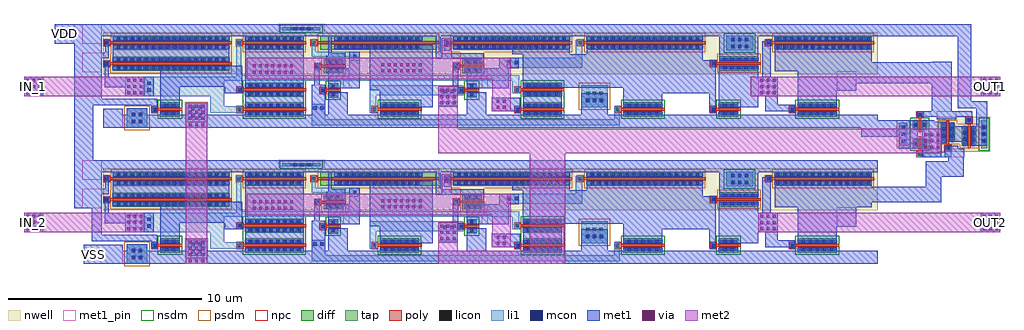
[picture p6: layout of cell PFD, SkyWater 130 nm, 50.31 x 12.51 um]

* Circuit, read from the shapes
.subckt PFD IN_1 IN_2 OUT1 OUT2 VDD VSS
XM1 n1 VDD VSS VSS sky130_fd_pr__nfet_01v8 w=1 l=0.15
XM2 n2 VDD VSS VSS sky130_fd_pr__nfet_01v8 w=1 l=0.15
XM3 n3 IN_2 VSS VSS sky130_fd_pr__nfet_01v8 w=3 l=0.15
XM4 n4 n1 n3 VSS sky130_fd_pr__nfet_01v8 w=3 l=0.15
XM5 n5 IN_1 VSS VSS sky130_fd_pr__nfet_01v8 w=3 l=0.15
XM6 n6 n2 n5 VSS sky130_fd_pr__nfet_01v8 w=3 l=0.15
XM7 Register_SR_2/Inv2-1_7/Out VSS VSS VSS sky130_fd_pr__nfet_01v8 w=0.5 l=0.15
XM8 Register_SR_1/Inv2-1_7/Out VSS VSS VSS sky130_fd_pr__nfet_01v8 w=0.5 l=0.15
XM9 n4 NOR2-1_0/Out VSS VSS sky130_fd_pr__nfet_01v8 w=2 l=0.15
XM10 n6 NOR2-1_0/Out VSS VSS sky130_fd_pr__nfet_01v8 w=2 l=0.15
XM11 Register_SR_2/Inv2-1_14/Out NOR2-1_0/Out VSS VSS sky130_fd_pr__nfet_01v8 w=0.5 l=0.15
XM12 Register_SR_1/Inv2-1_14/Out NOR2-1_0/Out VSS VSS sky130_fd_pr__nfet_01v8 w=0.5 l=0.15
XM13 n7 IN_2 n8 VSS sky130_fd_pr__nfet_01v8 w=2 l=0.15
XM14 n9 IN_1 n10 VSS sky130_fd_pr__nfet_01v8 w=2 l=0.15
XM15 n8 n4 VSS VSS sky130_fd_pr__nfet_01v8 w=2 l=0.15
XM16 n10 n6 VSS VSS sky130_fd_pr__nfet_01v8 w=2 l=0.15
XM17 n7 VSS VSS VSS sky130_fd_pr__nfet_01v8 w=2 l=0.15
XM18 n9 VSS VSS VSS sky130_fd_pr__nfet_01v8 w=2 l=0.15
XM19 OUT2 n7 VSS VSS sky130_fd_pr__nfet_01v8 w=1 l=0.15
XM20 OUT1 n9 VSS VSS sky130_fd_pr__nfet_01v8 w=1 l=0.15
XM21 NOR2-1_0/In_2 OUT2 VSS VSS sky130_fd_pr__nfet_01v8 w=2 l=0.15
XM22 NOR2-1_0/In_1 OUT1 VSS VSS sky130_fd_pr__nfet_01v8 w=2 l=0.15
XM23 NOR2-1_0/Out NOR2-1_0/In_2 VSS VSS sky130_fd_pr__nfet_01v8 w=0.5 l=0.15
XM24 NOR2-1_0/Out NOR2-1_0/In_1 VSS VSS sky130_fd_pr__nfet_01v8 w=0.5 l=0.15
XM25 n11 IN_2 n1 VDD sky130_fd_pr__pfet_01v8 w=6 l=0.15
XM26 n12 IN_1 n2 VDD sky130_fd_pr__pfet_01v8 w=6 l=0.15
XM27 VDD VDD n11 VDD sky130_fd_pr__pfet_01v8 w=6 l=0.15
XM28 VDD VDD n12 VDD sky130_fd_pr__pfet_01v8 w=6 l=0.15
XM29 VDD IN_2 n4 VDD sky130_fd_pr__pfet_01v8 w=3 l=0.15
XM30 VDD IN_1 n6 VDD sky130_fd_pr__pfet_01v8 w=3 l=0.15
XM31 VDD Register_SR_2/Inv2-1_7/Out n4 VDD sky130_fd_pr__pfet_01v8 w=6 l=0.15
XM32 VDD Register_SR_1/Inv2-1_7/Out n6 VDD sky130_fd_pr__pfet_01v8 w=6 l=0.15
XM33 VDD VSS Register_SR_2/Inv2-1_7/Out VDD sky130_fd_pr__pfet_01v8 w=1 l=0.15
XM34 VDD VSS Register_SR_1/Inv2-1_7/Out VDD sky130_fd_pr__pfet_01v8 w=1 l=0.15
XM35 VDD n4 n7 VDD sky130_fd_pr__pfet_01v8 w=6 l=0.15
XM36 VDD n6 n9 VDD sky130_fd_pr__pfet_01v8 w=6 l=0.15
XM37 VDD NOR2-1_0/Out Register_SR_2/Inv2-1_14/Out VDD sky130_fd_pr__pfet_01v8 w=1 l=0.15
XM38 VDD NOR2-1_0/Out Register_SR_1/Inv2-1_14/Out VDD sky130_fd_pr__pfet_01v8 w=1 l=0.15
XM39 VDD Register_SR_2/Inv2-1_14/Out n7 VDD sky130_fd_pr__pfet_01v8 w=6 l=0.15
XM40 VDD Register_SR_1/Inv2-1_14/Out n9 VDD sky130_fd_pr__pfet_01v8 w=6 l=0.15
XM41 VDD n7 OUT2 VDD sky130_fd_pr__pfet_01v8 w=2 l=0.15
XM42 VDD n9 OUT1 VDD sky130_fd_pr__pfet_01v8 w=2 l=0.15
XM43 VDD OUT2 NOR2-1_0/In_2 VDD sky130_fd_pr__pfet_01v8 w=5 l=0.15
XM44 VDD OUT1 NOR2-1_0/In_1 VDD sky130_fd_pr__pfet_01v8 w=5 l=0.15
XM45 n13 NOR2-1_0/In_2 NOR2-1_0/Out VDD sky130_fd_pr__pfet_01v8 w=1 l=0.15
XM46 VDD NOR2-1_0/In_1 n13 VDD sky130_fd_pr__pfet_01v8 w=1 l=0.15
.ends

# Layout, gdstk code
from math import pi, radians
import gdstk
lib = gdstk.Library(unit=1e-6, precision=1e-09)
def R(c, l, rs):  # rectangles x0, y0, x1, y1
    for r in rs: c.add(gdstk.rectangle(r[:2], r[2:], *l))
def A(c, l, x, y, w, h, nx, ny, dx, dy):  # array of equal rectangles
    R(c, l, [(x+i*dx, y+j*dy, x+i*dx+w, y+j*dy+h) for i in range(nx) for j in range(ny)])
nwell = (64, 20)
diff = (65, 20)
tap = (65, 44)
poly = (66, 20)
licon = (66, 44)
li1 = (67, 20)
mcon = (67, 44)
met1_pin = (68, 16)
met1 = (68, 20)
via = (68, 44)
met2 = (69, 20)
nsdm = (93, 44)
psdm = (94, 20)
npc = (95, 20)

sky130_fd_pr__pfet_01v8_ = lib.new_cell('sky130_fd_pr__pfet_01v8_CWU6PJ')
R(sky130_fd_pr__pfet_01v8_, nwell, [(-0.545,-0.99,0.545,0.82)])
R(sky130_fd_pr__pfet_01v8_, diff, [(-0.365,-0.68,0.365,0.32)])
R(sky130_fd_pr__pfet_01v8_, poly, [(-0.075,-0.81,0.075,0.475), (-0.165,0.475,0.165,0.805)])
A(sky130_fd_pr__pfet_01v8_, licon, -0.305, -0.605, 0.17, 0.17, 1, 3, 0, 0.34)
A(sky130_fd_pr__pfet_01v8_, licon, 0.135, -0.605, 0.17, 0.17, 1, 3, 0, 0.34)
R(sky130_fd_pr__pfet_01v8_, licon, [(-0.085,0.555,0.085,0.725)])
R(sky130_fd_pr__pfet_01v8_, li1, [(-0.305,-0.7,-0.135,0.34), (0.135,-0.7,0.305,0.34), (-0.165,0.555,0.165,0.725)])
R(sky130_fd_pr__pfet_01v8_, mcon, [(-0.305,-0.445,-0.135,-0.275), (0.135,-0.445,0.305,-0.275), (-0.305,-0.085,-0.135,0.085), (0.135,-0.085,0.305,0.085), (-0.085,0.555,0.085,0.725)])
R(sky130_fd_pr__pfet_01v8_, met1, [(-0.335,-0.68,-0.105,0.32), (0.105,-0.68,0.335,0.32), (-0.145,0.525,0.145,0.755)])
R(sky130_fd_pr__pfet_01v8_, psdm, [(-0.49,-0.805,0.49,0.445)])
R(sky130_fd_pr__pfet_01v8_, npc, [(-0.185,0.455,0.185,0.825)])

sky130_fd_pr__nfet_01v8_ = lib.new_cell('sky130_fd_pr__nfet_01v8_CQHVT8')
R(sky130_fd_pr__nfet_01v8_, diff, [(-0.365,-0.405,0.365,0.095)])
R(sky130_fd_pr__nfet_01v8_, poly, [(-0.075,-0.535,0.075,0.205), (-0.165,0.205,0.165,0.535)])
R(sky130_fd_pr__nfet_01v8_, licon, [(-0.305,-0.24,-0.135,-0.07), (0.135,-0.24,0.305,-0.07), (-0.085,0.285,0.085,0.455)])
R(sky130_fd_pr__nfet_01v8_, li1, [(-0.305,-0.425,-0.135,0.115), (0.135,-0.425,0.305,0.115), (-0.165,0.285,0.165,0.455)])
R(sky130_fd_pr__nfet_01v8_, mcon, [(-0.305,-0.24,-0.135,-0.07), (0.135,-0.24,0.305,-0.07)])
R(sky130_fd_pr__nfet_01v8_, met1, [(-0.335,-0.405,-0.105,0.095), (0.105,-0.405,0.335,0.095)])
R(sky130_fd_pr__nfet_01v8_, nsdm, [(-0.49,-0.53,0.49,0.22)])
R(sky130_fd_pr__nfet_01v8_, npc, [(-0.185,0.185,0.185,0.555)])

c_sky130_fd_pr__nfet_01v8_ = lib.new_cell('sky130_fd_pr__nfet_01v8_8DMXDH')
R(c_sky130_fd_pr__nfet_01v8_, diff, [(-0.365,-0.405,0.365,0.095)])
R(c_sky130_fd_pr__nfet_01v8_, poly, [(-0.075,-0.535,0.075,0.205), (-0.165,0.205,0.165,0.535)])
R(c_sky130_fd_pr__nfet_01v8_, licon, [(-0.305,-0.24,-0.135,-0.07), (0.135,-0.24,0.305,-0.07), (-0.085,0.285,0.085,0.455)])
R(c_sky130_fd_pr__nfet_01v8_, li1, [(-0.305,-0.425,-0.135,0.115), (0.135,-0.425,0.305,0.115), (-0.165,0.285,0.165,0.455)])
R(c_sky130_fd_pr__nfet_01v8_, mcon, [(-0.305,-0.24,-0.135,-0.07), (0.135,-0.24,0.305,-0.07), (-0.085,0.285,0.085,0.455)])
R(c_sky130_fd_pr__nfet_01v8_, met1, [(-0.335,-0.405,-0.105,0.095), (0.105,-0.405,0.335,0.095), (-0.145,0.255,0.145,0.485)])
R(c_sky130_fd_pr__nfet_01v8_, nsdm, [(-0.49,-0.53,0.49,0.22)])
R(c_sky130_fd_pr__nfet_01v8_, npc, [(-0.185,0.185,0.185,0.555)])

nor2_1 = lib.new_cell('NOR2-1')
R(nor2_1, nwell, [(2.92,0.17,4.73,0.91)])
R(nor2_1, tap, [(3.23,-3.79,4.43,-3.37), (3.1,0.44,4.55,0.73)])
A(nor2_1, licon, 3.405, -3.66, 0.17, 0.17, 3, 1, 0.34, 0)
A(nor2_1, licon, 3.4, 0.495, 0.17, 0.17, 3, 1, 0.34, 0)
R(nor2_1, li1, [(3.23,-3.79,4.43,-3.37), (4.76,-2.9,5.03,-1.45), (4.46,-1.45,5.03,-1.12), (3.1,0.44,4.55,0.73)])
A(nor2_1, mcon, 3.385, -3.66, 0.17, 0.17, 3, 1, 0.36, 0)
A(nor2_1, mcon, 3.38, 0.495, 0.17, 0.17, 3, 1, 0.36, 0)
R(nor2_1, met1_pin, [(3.34,-3.83,4.34,-2.83), (4.57,-2.62,5.03,-1.62), (2.64,-1.85,3.06,-0.85), (4.57,-1.45,5.03,-0.45), (3.42,-0.09,3.46,0.73)])
R(nor2_1, met1, [(3.1,-3.83,4.57,-2.83), (2.64,-2.89,2.94,-1.85), (3.1,-2.62,4.31,-2.39), (4.57,-2.62,5.03,-2.39), (3.1,-2.39,5.03,-1.99), (3.2,-1.99,5.03,-1.62), (2.64,-1.85,3.06,-0.85), (3.2,-1.62,4.29,-1.38), (4.43,-1.45,5.03,-0.76), (3.42,-1.18,4.23,-0.3), (2.64,-0.85,2.94,-0.36), (4.57,-0.76,5.03,-0.45), (2.64,-0.36,3.28,-0.03), (3.42,-0.09,4.42,0.17), (2.92,0.17,4.42,0.73)])
R(nor2_1, nsdm, [(3.725,-3.215,3.945,-2.235), (2.975,0.315,4.675,0.855)])
R(nor2_1, psdm, [(3.105,-3.915,4.555,-3.245), (3.295,-0.795,4.355,-0.685)])
nor2_1.add(gdstk.Reference(sky130_fd_pr__pfet_01v8_, (3.74,-0.195), rotation=pi/2))
nor2_1.add(gdstk.Reference(sky130_fd_pr__nfet_01v8_, (4.475,-2.725), rotation=3*pi/2))
nor2_1.add(gdstk.Reference(c_sky130_fd_pr__nfet_01v8_, (3.195,-2.725), rotation=pi/2))
nor2_1.add(gdstk.Reference(sky130_fd_pr__pfet_01v8_, (3.91,-1.285), rotation=3*pi/2))
nor2_1.add(gdstk.Label('VSS', (3.84,-3.33), layer=68, texttype=5))
nor2_1.add(gdstk.Label('In_2', (4.8,-0.95), layer=68, texttype=5))
nor2_1.add(gdstk.Label('Out', (4.8,-2.12), layer=68, texttype=5))
nor2_1.add(gdstk.Label('In_1', (2.85,-1.35), layer=68, texttype=5))
nor2_1.add(gdstk.Label('VDD', (3.44,0.32), layer=68, texttype=5))

c_sky130_fd_pr__nfet_01v8__ = lib.new_cell('sky130_fd_pr__nfet_01v8_28RQMS')
R(c_sky130_fd_pr__nfet_01v8__, diff, [(-0.365,-1.155,0.365,0.845)])
R(c_sky130_fd_pr__nfet_01v8__, poly, [(-0.075,-1.285,0.075,0.955), (-0.165,0.955,0.165,1.285)])
A(c_sky130_fd_pr__nfet_01v8__, licon, -0.305, -1.09, 0.17, 0.17, 1, 6, 0, 0.34)
A(c_sky130_fd_pr__nfet_01v8__, licon, 0.135, -1.09, 0.17, 0.17, 1, 6, 0, 0.34)
R(c_sky130_fd_pr__nfet_01v8__, licon, [(-0.085,1.035,0.085,1.205)])
R(c_sky130_fd_pr__nfet_01v8__, li1, [(-0.305,-1.175,-0.135,0.865), (0.135,-1.175,0.305,0.865), (-0.165,1.035,0.165,1.205)])
A(c_sky130_fd_pr__nfet_01v8__, mcon, -0.305, -0.96, 0.17, 0.17, 1, 5, 0, 0.36)
A(c_sky130_fd_pr__nfet_01v8__, mcon, 0.135, -0.96, 0.17, 0.17, 1, 5, 0, 0.36)
R(c_sky130_fd_pr__nfet_01v8__, mcon, [(-0.085,1.035,0.085,1.205)])
R(c_sky130_fd_pr__nfet_01v8__, met1, [(-0.335,-1.155,-0.105,0.845), (0.105,-1.155,0.335,0.845), (-0.145,1.005,0.145,1.235)])
R(c_sky130_fd_pr__nfet_01v8__, nsdm, [(-0.49,-1.28,0.49,0.97)])
R(c_sky130_fd_pr__nfet_01v8__, npc, [(-0.185,0.935,0.185,1.305)])

c_sky130_fd_pr__nfet_01v8___ = lib.new_cell('sky130_fd_pr__nfet_01v8_NTFR9R')
R(c_sky130_fd_pr__nfet_01v8___, diff, [(-0.365,-0.655,0.365,0.345)])
R(c_sky130_fd_pr__nfet_01v8___, poly, [(-0.075,-0.785,0.075,0.455), (-0.165,0.455,0.165,0.785)])
A(c_sky130_fd_pr__nfet_01v8___, licon, -0.305, -0.58, 0.17, 0.17, 1, 3, 0, 0.34)
A(c_sky130_fd_pr__nfet_01v8___, licon, 0.135, -0.58, 0.17, 0.17, 1, 3, 0, 0.34)
R(c_sky130_fd_pr__nfet_01v8___, licon, [(-0.085,0.535,0.085,0.705)])
R(c_sky130_fd_pr__nfet_01v8___, li1, [(-0.305,-0.675,-0.135,0.365), (0.135,-0.675,0.305,0.365), (-0.165,0.535,0.165,0.705)])
R(c_sky130_fd_pr__nfet_01v8___, mcon, [(-0.305,-0.42,-0.135,-0.25), (0.135,-0.42,0.305,-0.25), (-0.305,-0.06,-0.135,0.11), (0.135,-0.06,0.305,0.11), (-0.085,0.535,0.085,0.705)])
R(c_sky130_fd_pr__nfet_01v8___, met1, [(-0.335,-0.655,-0.105,0.345), (0.105,-0.655,0.335,0.345), (-0.145,0.505,0.145,0.735)])
R(c_sky130_fd_pr__nfet_01v8___, nsdm, [(-0.49,-0.78,0.49,0.47)])
R(c_sky130_fd_pr__nfet_01v8___, npc, [(-0.185,0.435,0.185,0.805)])

c_sky130_fd_pr__nfet_01v8____ = lib.new_cell('sky130_fd_pr__nfet_01v8_TUG65L')
R(c_sky130_fd_pr__nfet_01v8____, diff, [(-0.365,-1.155,0.365,0.845)])
R(c_sky130_fd_pr__nfet_01v8____, poly, [(-0.075,-1.285,0.075,0.955), (-0.165,0.955,0.165,1.285)])
A(c_sky130_fd_pr__nfet_01v8____, licon, -0.305, -1.09, 0.17, 0.17, 1, 6, 0, 0.34)
A(c_sky130_fd_pr__nfet_01v8____, licon, 0.135, -1.09, 0.17, 0.17, 1, 6, 0, 0.34)
R(c_sky130_fd_pr__nfet_01v8____, licon, [(-0.085,1.035,0.085,1.205)])
R(c_sky130_fd_pr__nfet_01v8____, li1, [(-0.305,-1.175,-0.135,0.865), (0.135,-1.175,0.305,0.865), (-0.165,1.035,0.165,1.205)])
A(c_sky130_fd_pr__nfet_01v8____, mcon, -0.305, -0.96, 0.17, 0.17, 1, 5, 0, 0.36)
A(c_sky130_fd_pr__nfet_01v8____, mcon, 0.135, -0.96, 0.17, 0.17, 1, 5, 0, 0.36)
R(c_sky130_fd_pr__nfet_01v8____, met1, [(-0.335,-1.155,-0.105,0.845), (0.105,-1.155,0.335,0.845)])
R(c_sky130_fd_pr__nfet_01v8____, nsdm, [(-0.49,-1.28,0.49,0.97)])
R(c_sky130_fd_pr__nfet_01v8____, npc, [(-0.185,0.935,0.185,1.305)])

c_sky130_fd_pr__nfet_01v8_____ = lib.new_cell('sky130_fd_pr__nfet_01v8_5R7S7E')
R(c_sky130_fd_pr__nfet_01v8_____, diff, [(-0.365,-1.655,0.365,1.345)])
R(c_sky130_fd_pr__nfet_01v8_____, poly, [(-0.075,-1.785,0.075,1.455), (-0.165,1.455,0.165,1.785)])
A(c_sky130_fd_pr__nfet_01v8_____, licon, -0.305, -1.43, 0.17, 0.17, 1, 8, 0, 0.34)
A(c_sky130_fd_pr__nfet_01v8_____, licon, 0.135, -1.43, 0.17, 0.17, 1, 8, 0, 0.34)
R(c_sky130_fd_pr__nfet_01v8_____, licon, [(-0.085,1.535,0.085,1.705)])
R(c_sky130_fd_pr__nfet_01v8_____, li1, [(-0.305,-1.675,-0.135,1.365), (0.135,-1.675,0.305,1.365), (-0.165,1.535,0.165,1.705)])
A(c_sky130_fd_pr__nfet_01v8_____, mcon, -0.305, -1.5, 0.17, 0.17, 1, 8, 0, 0.36)
A(c_sky130_fd_pr__nfet_01v8_____, mcon, 0.135, -1.5, 0.17, 0.17, 1, 8, 0, 0.36)
R(c_sky130_fd_pr__nfet_01v8_____, met1, [(-0.335,-1.655,-0.105,1.345), (0.105,-1.655,0.335,1.345)])
R(c_sky130_fd_pr__nfet_01v8_____, nsdm, [(-0.49,-1.78,0.49,1.47)])
R(c_sky130_fd_pr__nfet_01v8_____, npc, [(-0.185,1.435,0.185,1.805)])

c_sky130_fd_pr__nfet_01v8______ = lib.new_cell('sky130_fd_pr__nfet_01v8_KNTFKG')
R(c_sky130_fd_pr__nfet_01v8______, diff, [(-0.365,-1.655,0.365,1.345)])
R(c_sky130_fd_pr__nfet_01v8______, poly, [(-0.075,-1.785,0.075,1.455), (-0.165,1.455,0.165,1.785)])
A(c_sky130_fd_pr__nfet_01v8______, licon, -0.305, -1.43, 0.17, 0.17, 1, 8, 0, 0.34)
A(c_sky130_fd_pr__nfet_01v8______, licon, 0.135, -1.43, 0.17, 0.17, 1, 8, 0, 0.34)
R(c_sky130_fd_pr__nfet_01v8______, licon, [(-0.085,1.535,0.085,1.705)])
R(c_sky130_fd_pr__nfet_01v8______, li1, [(-0.305,-1.675,-0.135,1.365), (0.135,-1.675,0.305,1.365), (-0.165,1.535,0.165,1.705)])
A(c_sky130_fd_pr__nfet_01v8______, mcon, -0.305, -1.5, 0.17, 0.17, 1, 8, 0, 0.36)
A(c_sky130_fd_pr__nfet_01v8______, mcon, 0.135, -1.5, 0.17, 0.17, 1, 8, 0, 0.36)
R(c_sky130_fd_pr__nfet_01v8______, mcon, [(-0.085,1.535,0.085,1.705)])
R(c_sky130_fd_pr__nfet_01v8______, met1, [(-0.335,-1.655,-0.105,1.345), (0.105,-1.655,0.335,1.345), (-0.145,1.505,0.145,1.735)])
R(c_sky130_fd_pr__nfet_01v8______, nsdm, [(-0.49,-1.78,0.49,1.47)])
R(c_sky130_fd_pr__nfet_01v8______, npc, [(-0.185,1.435,0.185,1.805)])

c_sky130_fd_pr__pfet_01v8_ = lib.new_cell('sky130_fd_pr__pfet_01v8_C6DMSJ')
R(c_sky130_fd_pr__pfet_01v8_, nwell, [(-0.545,-3.49,0.545,3.32)])
R(c_sky130_fd_pr__pfet_01v8_, diff, [(-0.365,-3.18,0.365,2.82)])
R(c_sky130_fd_pr__pfet_01v8_, poly, [(-0.075,-3.31,0.075,2.975), (-0.165,2.975,0.165,3.305)])
A(c_sky130_fd_pr__pfet_01v8_, licon, -0.305, -2.985, 0.17, 0.17, 1, 17, 0, 0.34)
A(c_sky130_fd_pr__pfet_01v8_, licon, 0.135, -2.985, 0.17, 0.17, 1, 17, 0, 0.34)
R(c_sky130_fd_pr__pfet_01v8_, licon, [(-0.085,3.055,0.085,3.225)])
R(c_sky130_fd_pr__pfet_01v8_, li1, [(-0.305,-3.2,-0.135,2.84), (0.135,-3.2,0.305,2.84), (-0.165,3.055,0.165,3.225)])
A(c_sky130_fd_pr__pfet_01v8_, mcon, -0.305, -2.965, 0.17, 0.17, 1, 16, 0, 0.36)
A(c_sky130_fd_pr__pfet_01v8_, mcon, 0.135, -2.965, 0.17, 0.17, 1, 16, 0, 0.36)
R(c_sky130_fd_pr__pfet_01v8_, mcon, [(-0.085,3.055,0.085,3.225)])
R(c_sky130_fd_pr__pfet_01v8_, met1, [(-0.335,-3.18,-0.105,2.82), (0.105,-3.18,0.335,2.82), (-0.145,3.025,0.145,3.255)])
R(c_sky130_fd_pr__pfet_01v8_, psdm, [(-0.49,-3.305,0.49,2.945)])
R(c_sky130_fd_pr__pfet_01v8_, npc, [(-0.185,2.955,0.185,3.325)])

c_sky130_fd_pr__pfet_01v8__ = lib.new_cell('sky130_fd_pr__pfet_01v8_F97YLM')
R(c_sky130_fd_pr__pfet_01v8__, nwell, [(-0.545,-0.99,0.545,0.82)])
R(c_sky130_fd_pr__pfet_01v8__, diff, [(-0.365,-0.68,0.365,0.32)])
R(c_sky130_fd_pr__pfet_01v8__, poly, [(-0.075,-0.81,0.075,0.475), (-0.165,0.475,0.165,0.805)])
R(c_sky130_fd_pr__pfet_01v8__, licon, [(-0.305,-0.435,-0.135,-0.265), (0.135,-0.435,0.305,-0.265), (-0.305,-0.095,-0.135,0.075), (0.135,-0.095,0.305,0.075), (-0.085,0.555,0.085,0.725)])
R(c_sky130_fd_pr__pfet_01v8__, li1, [(-0.305,-0.59,-0.135,0.23), (0.135,-0.59,0.305,0.23), (-0.165,0.555,0.165,0.725)])
R(c_sky130_fd_pr__pfet_01v8__, mcon, [(-0.305,-0.445,-0.135,-0.275), (0.135,-0.445,0.305,-0.275), (-0.305,-0.085,-0.135,0.085), (0.135,-0.085,0.305,0.085), (-0.085,0.555,0.085,0.725)])
R(c_sky130_fd_pr__pfet_01v8__, met1, [(-0.335,-0.57,-0.105,0.21), (0.105,-0.57,0.335,0.21), (-0.145,0.525,0.145,0.755)])
R(c_sky130_fd_pr__pfet_01v8__, psdm, [(-0.49,-0.805,0.49,0.445)])
R(c_sky130_fd_pr__pfet_01v8__, npc, [(-0.185,0.455,0.185,0.825)])

inv2_1 = lib.new_cell('Inv2-1')
R(inv2_1, met1_pin, [(2.73,-3.84,3.04,-2.84)])
R(inv2_1, met1, [(1.96,-4.31,2.96,-4.05), (1.23,-4.11,1.8,-3.78), (1.96,-3.84,3.04,-2.95), (1.23,-3.78,1.52,-2.84), (2.06,-2.95,3.04,-2.8), (1.84,-2.59,2.84,-2.15)])
inv2_1.add(gdstk.Reference(c_sky130_fd_pr__nfet_01v8_, (2.055,-3.945), rotation=pi/2))
inv2_1.add(gdstk.Reference(c_sky130_fd_pr__pfet_01v8__, (2.05,-2.695), rotation=pi/2))
inv2_1.add(gdstk.Label('Out', (2.885,-3.34), layer=68, texttype=5))

c_sky130_fd_pr__pfet_01v8___ = lib.new_cell('sky130_fd_pr__pfet_01v8_8SDNUD')
R(c_sky130_fd_pr__pfet_01v8___, nwell, [(-0.545,-3.49,0.545,3.32)])
R(c_sky130_fd_pr__pfet_01v8___, diff, [(-0.365,-3.18,0.365,2.82)])
R(c_sky130_fd_pr__pfet_01v8___, poly, [(-0.075,-3.31,0.075,2.975), (-0.165,2.975,0.165,3.305)])
A(c_sky130_fd_pr__pfet_01v8___, licon, -0.305, -2.305, 0.17, 0.17, 1, 13, 0, 0.34)
A(c_sky130_fd_pr__pfet_01v8___, licon, 0.135, -2.305, 0.17, 0.17, 1, 13, 0, 0.34)
R(c_sky130_fd_pr__pfet_01v8___, licon, [(-0.085,3.055,0.085,3.225)])
R(c_sky130_fd_pr__pfet_01v8___, li1, [(-0.305,-2.465,-0.135,2.105), (0.135,-2.465,0.305,2.105), (-0.165,3.055,0.165,3.225)])
A(c_sky130_fd_pr__pfet_01v8___, mcon, -0.305, -2.245, 0.17, 0.17, 1, 12, 0, 0.36)
A(c_sky130_fd_pr__pfet_01v8___, mcon, 0.135, -2.245, 0.17, 0.17, 1, 12, 0, 0.36)
R(c_sky130_fd_pr__pfet_01v8___, met1, [(-0.335,-2.445,-0.105,2.085), (0.105,-2.445,0.335,2.085)])
R(c_sky130_fd_pr__pfet_01v8___, psdm, [(-0.49,-3.305,0.49,2.945)])
R(c_sky130_fd_pr__pfet_01v8___, npc, [(-0.185,2.955,0.185,3.325)])

c_sky130_fd_pr__pfet_01v8____ = lib.new_cell('sky130_fd_pr__pfet_01v8_YRA8CD')
R(c_sky130_fd_pr__pfet_01v8____, nwell, [(-0.545,-1.99,0.545,1.82)])
R(c_sky130_fd_pr__pfet_01v8____, diff, [(-0.365,-1.68,0.365,1.32)])
R(c_sky130_fd_pr__pfet_01v8____, poly, [(-0.075,-1.81,0.075,1.475), (-0.165,1.475,0.165,1.805)])
A(c_sky130_fd_pr__pfet_01v8____, licon, -0.305, -1.455, 0.17, 0.17, 1, 8, 0, 0.34)
A(c_sky130_fd_pr__pfet_01v8____, licon, 0.135, -1.455, 0.17, 0.17, 1, 8, 0, 0.34)
R(c_sky130_fd_pr__pfet_01v8____, licon, [(-0.085,1.555,0.085,1.725)])
R(c_sky130_fd_pr__pfet_01v8____, li1, [(-0.305,-1.7,-0.135,1.34), (0.135,-1.7,0.305,1.34), (-0.165,1.555,0.165,1.725)])
A(c_sky130_fd_pr__pfet_01v8____, mcon, -0.305, -1.525, 0.17, 0.17, 1, 8, 0, 0.36)
A(c_sky130_fd_pr__pfet_01v8____, mcon, 0.135, -1.525, 0.17, 0.17, 1, 8, 0, 0.36)
R(c_sky130_fd_pr__pfet_01v8____, met1, [(-0.335,-1.68,-0.105,1.32), (0.105,-1.68,0.335,1.32)])
R(c_sky130_fd_pr__pfet_01v8____, psdm, [(-0.49,-1.805,0.49,1.445)])
R(c_sky130_fd_pr__pfet_01v8____, npc, [(-0.185,1.455,0.185,1.825)])

c_sky130_fd_pr__pfet_01v8_____ = lib.new_cell('sky130_fd_pr__pfet_01v8_BF47CD')
R(c_sky130_fd_pr__pfet_01v8_____, nwell, [(-0.545,-3.49,0.545,3.32)])
R(c_sky130_fd_pr__pfet_01v8_____, diff, [(-0.365,-3.18,0.365,2.82)])
R(c_sky130_fd_pr__pfet_01v8_____, poly, [(-0.075,-3.31,0.075,2.975), (-0.165,2.975,0.165,3.305)])
A(c_sky130_fd_pr__pfet_01v8_____, licon, -0.305, -2.985, 0.17, 0.17, 1, 17, 0, 0.34)
A(c_sky130_fd_pr__pfet_01v8_____, licon, 0.135, -2.985, 0.17, 0.17, 1, 17, 0, 0.34)
R(c_sky130_fd_pr__pfet_01v8_____, licon, [(-0.085,3.055,0.085,3.225)])
R(c_sky130_fd_pr__pfet_01v8_____, li1, [(-0.305,-3.2,-0.135,2.84), (0.135,-3.2,0.305,2.84), (-0.165,3.055,0.165,3.225)])
A(c_sky130_fd_pr__pfet_01v8_____, mcon, -0.305, -2.965, 0.17, 0.17, 1, 16, 0, 0.36)
A(c_sky130_fd_pr__pfet_01v8_____, mcon, 0.135, -2.965, 0.17, 0.17, 1, 16, 0, 0.36)
R(c_sky130_fd_pr__pfet_01v8_____, met1, [(-0.335,-3.18,-0.105,2.82), (0.105,-3.18,0.335,2.82)])
R(c_sky130_fd_pr__pfet_01v8_____, psdm, [(-0.49,-3.305,0.49,2.945)])
R(c_sky130_fd_pr__pfet_01v8_____, npc, [(-0.185,2.955,0.185,3.325)])

c_sky130_fd_pr__pfet_01v8______ = lib.new_cell('sky130_fd_pr__pfet_01v8_CW7USJ')
R(c_sky130_fd_pr__pfet_01v8______, nwell, [(-0.545,-2.99,0.545,2.82)])
R(c_sky130_fd_pr__pfet_01v8______, diff, [(-0.365,-2.68,0.365,2.32)])
R(c_sky130_fd_pr__pfet_01v8______, poly, [(-0.075,-2.81,0.075,2.475), (-0.165,2.475,0.165,2.805)])
A(c_sky130_fd_pr__pfet_01v8______, licon, -0.305, -2.475, 0.17, 0.17, 1, 14, 0, 0.34)
A(c_sky130_fd_pr__pfet_01v8______, licon, 0.135, -2.475, 0.17, 0.17, 1, 14, 0, 0.34)
R(c_sky130_fd_pr__pfet_01v8______, licon, [(-0.085,2.555,0.085,2.725)])
R(c_sky130_fd_pr__pfet_01v8______, li1, [(-0.305,-2.7,-0.135,2.34), (0.135,-2.7,0.305,2.34), (-0.165,2.555,0.165,2.725)])
A(c_sky130_fd_pr__pfet_01v8______, mcon, -0.305, -2.605, 0.17, 0.17, 1, 14, 0, 0.36)
A(c_sky130_fd_pr__pfet_01v8______, mcon, 0.135, -2.605, 0.17, 0.17, 1, 14, 0, 0.36)
R(c_sky130_fd_pr__pfet_01v8______, mcon, [(-0.085,2.555,0.085,2.725)])
R(c_sky130_fd_pr__pfet_01v8______, met1, [(-0.335,-2.68,-0.105,2.32), (0.105,-2.68,0.335,2.32), (-0.145,2.525,0.145,2.755)])
R(c_sky130_fd_pr__pfet_01v8______, psdm, [(-0.49,-2.805,0.49,2.445)])
R(c_sky130_fd_pr__pfet_01v8______, npc, [(-0.185,2.455,0.185,2.825)])

c_sky130_fd_pr__pfet_01v8_______ = lib.new_cell('sky130_fd_pr__pfet_01v8_C6E4QJ')
R(c_sky130_fd_pr__pfet_01v8_______, nwell, [(-0.545,-1.49,0.545,1.32)])
R(c_sky130_fd_pr__pfet_01v8_______, diff, [(-0.365,-1.18,0.365,0.82)])
R(c_sky130_fd_pr__pfet_01v8_______, poly, [(-0.075,-1.31,0.075,0.975), (-0.165,0.975,0.165,1.305)])
A(c_sky130_fd_pr__pfet_01v8_______, licon, -0.305, -1.115, 0.17, 0.17, 1, 6, 0, 0.34)
A(c_sky130_fd_pr__pfet_01v8_______, licon, 0.135, -1.115, 0.17, 0.17, 1, 6, 0, 0.34)
R(c_sky130_fd_pr__pfet_01v8_______, licon, [(-0.085,1.055,0.085,1.225)])
R(c_sky130_fd_pr__pfet_01v8_______, li1, [(-0.305,-1.2,-0.135,0.84), (0.135,-1.2,0.305,0.84), (-0.165,1.055,0.165,1.225)])
A(c_sky130_fd_pr__pfet_01v8_______, mcon, -0.305, -0.985, 0.17, 0.17, 1, 5, 0, 0.36)
A(c_sky130_fd_pr__pfet_01v8_______, mcon, 0.135, -0.985, 0.17, 0.17, 1, 5, 0, 0.36)
R(c_sky130_fd_pr__pfet_01v8_______, mcon, [(-0.085,1.055,0.085,1.225)])
R(c_sky130_fd_pr__pfet_01v8_______, met1, [(-0.335,-1.18,-0.105,0.82), (0.105,-1.18,0.335,0.82), (-0.145,1.025,0.145,1.255)])
R(c_sky130_fd_pr__pfet_01v8_______, psdm, [(-0.49,-1.305,0.49,0.945)])
R(c_sky130_fd_pr__pfet_01v8_______, npc, [(-0.185,0.955,0.185,1.325)])

register_sr = lib.new_cell('Register_SR')
R(register_sr, nwell, [(2.56,-6.28,42.48,-4.1), (11.62,-4.1,13.98,-3.66)])
R(register_sr, tap, [(3.78,-9.04,4.84,-8.02), (6.91,-8.61,7.82,-7.83), (27.21,-7.97,28.58,-6.84), (34.68,-5.04,36.06,-4.28), (11.8,-4.01,13.76,-3.84)])
A(register_sr, licon, 27.46, -7.68, 0.17, 0.17, 3, 2, 0.34, 0.34)
A(register_sr, licon, 34.95, -4.92, 0.17, 0.17, 3, 2, 0.34, 0.34)
A(register_sr, licon, 12.2, -4.01, 0.17, 0.17, 4, 1, 0.34, 0)
R(register_sr, licon, [(4.05,-8.775,4.22,-8.605), (4.39,-8.775,4.56,-8.605), (7.11,-8.465,7.28,-8.295), (7.45,-8.465,7.62,-8.295), (4.05,-8.435,4.22,-8.265), (4.39,-8.435,4.56,-8.265), (7.11,-8.125,7.28,-7.955), (7.45,-8.125,7.62,-7.955)])
R(register_sr, li1, [(3.78,-9.04,4.84,-8.02), (13.31,-8.89,29.19,-8.59), (6.91,-8.61,7.82,-7.83), (13.31,-8.59,14.01,-7.82), (28.91,-8.59,29.19,-7.92), (8.07,-8.25,9.64,-7.92), (16.29,-8.25,16.65,-7.35), (27.21,-7.97,28.58,-6.84), (8.07,-7.92,8.81,-7.4), (4.69,-7.4,8.81,-6.6), (16.29,-7.35,21.12,-6.83), (23.65,-7.24,24.01,-6.6), (4.69,-6.6,24.01,-6.4), (9.41,-6.4,24.01,-6.33), (9.41,-6.33,9.67,-4.48), (23.37,-5.94,27.25,-5.41), (15.25,-5.58,15.79,-5.37), (26.91,-5.41,27.25,-4.48), (13.31,-5.37,15.79,-5.12), (13.31,-5.12,13.52,-4.48), (34.68,-5.04,36.06,-4.28), (11.8,-4.01,13.76,-3.84)])
A(register_sr, mcon, 27.44, -7.725, 0.17, 0.17, 3, 1, 0.36, 0)
A(register_sr, mcon, 34.93, -4.93, 0.17, 0.17, 3, 2, 0.36, 0.36)
A(register_sr, mcon, 12.365, -4.01, 0.17, 0.17, 3, 1, 0.36, 0)
R(register_sr, mcon, [(4.04,-8.785,4.21,-8.615), (4.4,-8.785,4.57,-8.615), (7.1,-8.475,7.27,-8.305), (7.46,-8.475,7.63,-8.305), (4.04,-8.425,4.21,-8.255), (4.4,-8.425,4.57,-8.255), (7.1,-8.115,7.27,-7.945), (7.46,-8.115,7.63,-7.945), (13.395,-8.09,13.565,-7.92), (13.755,-8.09,13.925,-7.92), (20.09,-7.25,20.26,-7.08), (20.45,-7.25,20.62,-7.08), (4.84,-7.175,5.01,-7.005), (4.84,-6.815,5.01,-6.645), (23.41,-5.755,23.58,-5.585), (23.77,-5.755,23.94,-5.585), (15.44,-5.44,15.61,-5.27)])
R(register_sr, met1_pin, [(2.56,-9.04,3.56,-8.04), (19.83,-7.9,20.83,-6.9), (13.31,-7.82,14.01,-6.82), (36.33,-7.41,37.33,-6.41), (3.69,-7.4,4.69,-6.4), (40.37,-7.12,41.37,-6.12), (1.48,-6.16,2.48,-5.16), (1.49,-4.69,2.49,-3.69)])
R(register_sr, met1, [(2.56,-9.04,42.48,-8.37), (2.56,-8.37,3.56,-8.04), (3.78,-8.37,4.84,-8.02), (6.81,-8.37,7.93,-7.74), (14.17,-8.37,15.17,-7.21), (21.31,-8.37,22.31,-7.2), (27.21,-8.37,28.58,-7.25), (5.06,-8.23,5.34,-7.88), (33.81,-8.23,34.13,-7.25), (13.31,-8.21,14.01,-6.82), (22.6,-8.19,24.05,-7.47), (36.69,-8.17,38.21,-7.83), (5.5,-7.98,6.5,-6.91), (9.89,-7.98,12.89,-7.18), (24.21,-7.98,26.2,-7.18), (29.38,-7.98,31.38,-7.25), (34.29,-7.98,36.33,-7.41), (38.37,-7.98,40.37,-7.12), (16.83,-7.97,19.54,-7.09), (19.83,-7.94,20.83,-6.9), (1.98,-7.88,5.34,-7.54), (36.69,-7.83,37.33,-7.41), (1.98,-7.54,2.48,-6.16), (34.29,-7.41,37.33,-6.41), (3.69,-7.4,5.17,-6.93), (29.38,-7.25,34.13,-6.97), (8.82,-7.24,9.73,-6.91), (38.37,-7.12,41.37,-6.12), (16.31,-7.09,19.54,-4.75), (15.25,-7,15.79,-5.12), (22.39,-6.99,23.46,-5.96), (9.89,-6.97,12.89,-4.75), (24.2,-6.97,34.13,-5.96), (2.65,-6.93,5.17,-6.4), (5.5,-6.91,9.73,-6.05), (34.29,-6.41,36.33,-5.82), (36.53,-6.41,36.97,-4.56), (2.65,-6.4,2.86,-5.59), (1.48,-6.16,2.48,-5.44), (37.17,-6.12,42.17,-4.75), (3.06,-6.05,9.73,-5.84), (22.39,-5.96,23.99,-5.95), (24.19,-5.96,34.13,-5.55), (22.99,-5.95,23.99,-5.42), (3.06,-5.63,9.07,-4.75), (14.16,-5.63,14.4,-5.6), (34.33,-5.61,36.33,-4.32), (14.16,-5.6,14.42,-5.38), (21.19,-5.6,21.4,-5.56), (21.19,-5.56,21.59,-5.49), (24.19,-5.55,33.48,-5.25), (21.19,-5.49,22.19,-5.46), (19.71,-5.46,22.19,-5.2), (1.48,-5.44,2.86,-5.16), (14.47,-5.42,14.76,-5.38), (14.16,-5.38,14.78,-5.37), (14.16,-5.37,15.05,-5.19), (23.65,-5.25,33.48,-5.24), (23.65,-5.24,26.61,-4.75), (27.48,-5.24,33.48,-4.75), (19.71,-5.2,19.97,-4.32), (14.16,-5.19,14.34,-4.32), (2.66,-5.16,2.86,-4.5), (20.12,-5.06,20.46,-4.46), (1.49,-4.69,2.49,-4.32), (1.49,-4.32,42.48,-3.69)])
A(register_sr, via, 10.275, -6.235, 0.15, 0.15, 7, 2, 0.32, 0.32)
A(register_sr, via, 16.905, -6.175, 0.15, 0.15, 7, 2, 0.32, 0.32)
R(register_sr, via, [(22.84,-8.055,22.99,-7.905), (23.16,-8.055,23.31,-7.905), (22.84,-7.735,22.99,-7.585), (23.16,-7.735,23.31,-7.585), (20.205,-4.845,20.355,-4.695)])
R(register_sr, met2, [(22.6,-8.19,23.57,-7.45), (22.61,-7.45,23.57,-6.52), (9.97,-6.52,23.57,-5.41), (20.02,-5.41,20.53,-4.4)])
R(register_sr, nsdm, [(9.765,-7.595,13.015,-7.565), (24.085,-7.595,26.325,-7.565), (34.555,-5.165,36.185,-4.155), (11.675,-4.135,13.885,-3.715)])
R(register_sr, psdm, [(3.655,-9.165,4.965,-7.895), (6.785,-8.735,7.945,-7.705), (27.085,-8.095,28.705,-6.715), (13.815,-5.365,15.065,-5.135), (20.955,-5.355,22.205,-5.135), (2.94,-5.245,9.185,-5.14)])
register_sr.add(gdstk.Reference(c_sky130_fd_pr__nfet_01v8__, (39.215,-8.085), rotation=pi/2))
register_sr.add(gdstk.Reference(c_sky130_fd_pr__nfet_01v8___, (34.635,-8.085), rotation=pi/2))
register_sr.add(gdstk.Reference(c_sky130_fd_pr__nfet_01v8____, (25.045,-7.075), rotation=pi/2))
register_sr.add(gdstk.Reference(c_sky130_fd_pr__nfet_01v8__, (25.055,-8.085), rotation=pi/2))
register_sr.add(gdstk.Reference(c_sky130_fd_pr__nfet_01v8_____, (11.235,-8.085), rotation=pi/2))
register_sr.add(gdstk.Reference(c_sky130_fd_pr__nfet_01v8______, (11.235,-7.075), rotation=pi/2))
register_sr.add(gdstk.Reference(c_sky130_fd_pr__pfet_01v8_, (5.885,-4.65), rotation=pi/2))
register_sr.add(gdstk.Reference(inv2_1, (12.21,-3.16)))
register_sr.add(gdstk.Reference(c_sky130_fd_pr__nfet_01v8____, (17.685,-8.085), rotation=pi/2))
register_sr.add(gdstk.Reference(c_sky130_fd_pr__pfet_01v8_, (5.88,-5.735), rotation=pi/2))
register_sr.add(gdstk.Reference(c_sky130_fd_pr__pfet_01v8___, (16.57,-4.645), rotation=pi/2))
register_sr.add(gdstk.Reference(c_sky130_fd_pr__pfet_01v8____, (11.21,-4.645), rotation=pi/2))
register_sr.add(gdstk.Reference(c_sky130_fd_pr__pfet_01v8_____, (30.3,-4.645), rotation=pi/2))
register_sr.add(gdstk.Reference(c_sky130_fd_pr__nfet_01v8___, (5.845,-8.085), rotation=pi/2))
register_sr.add(gdstk.Reference(inv2_1, (19.35,-3.15)))
register_sr.add(gdstk.Reference(c_sky130_fd_pr__pfet_01v8______, (39.49,-4.645), rotation=pi/2))
register_sr.add(gdstk.Reference(c_sky130_fd_pr__pfet_01v8_, (23.43,-4.645), rotation=pi/2))
register_sr.add(gdstk.Reference(c_sky130_fd_pr__pfet_01v8_______, (35.15,-5.715), rotation=pi/2))
register_sr.add(gdstk.Reference(c_sky130_fd_pr__nfet_01v8____, (30.225,-8.085), rotation=pi/2))
register_sr.add(gdstk.Label('CLK', (4.19,-6.9), layer=68, texttype=5))
register_sr.add(gdstk.Label('VSS', (3.06,-8.54), layer=68, texttype=5))
register_sr.add(gdstk.Label('R', (20.33,-7.4), layer=68, texttype=5))
register_sr.add(gdstk.Label('D', (1.98,-5.66), layer=68, texttype=5))
register_sr.add(gdstk.Label('S', (13.66,-7.32), layer=68, texttype=5))
register_sr.add(gdstk.Label('Qc', (40.87,-6.62), layer=68, texttype=5))
register_sr.add(gdstk.Label('Q', (36.83,-6.91), layer=68, texttype=5))
register_sr.add(gdstk.Label('VDD', (1.99,-4.19), layer=68, texttype=5))

pfd = lib.new_cell('PFD')
R(pfd, met1_pin, [(5.43,-9.68,6.43,-8.68), (51.66,-8.05,52.66,-7.05), (2.35,-8.04,3.35,-7.04), (51.66,-1.04,52.66,-0.04), (2.35,-1.03,3.35,-0.03), (3.93,1.68,4.93,2.68)])
R(pfd, met1, [(5.43,-9.68,6.43,-8.68), (10.71,-9.65,11.77,-8.41), (17.18,-9.28,17.88,-8.53), (23.73,-8.55,24.67,-7.57), (51.66,-8.05,52.66,-7.05), (2.35,-8.04,3.35,-7.04), (40.23,-8.02,41.17,-7.08), (7.59,-8.01,8.53,-7.07), (4.93,-6.8,6.35,-4.33), (45.73,-6.49,49.64,-5.69), (48.84,-5.69,49.64,-5.19), (48.84,-5.19,50.8,-4.39), (50,-4.39,50.8,-3.91), (4.93,-4.33,5.93,0.21), (48.84,-4.11,49.64,-3.93), (48.67,-3.93,49.64,-3.39), (48.67,-3.39,49.62,-2.74), (51.17,-3.23,51.75,-2.99), (45.5,-3.11,47.91,-2.28), (10.71,-2.64,11.77,-1.4), (51.43,-2.38,51.99,-1.65), (49.76,-2.22,50.18,-2.1), (17.18,-2.17,17.88,-1.42), (48.87,-2.1,50.18,-1.8), (49.15,-1.8,50.18,-0.36), (50.49,-1.65,51.99,-1.29), (23.73,-1.54,24.67,-0.56), (50.49,-1.29,51.19,2.05), (51.66,-1.04,52.66,-0.04), (2.35,-1.03,3.35,-0.03), (40.23,-1.01,41.17,-0.07), (7.59,-1,8.53,-0.06), (44.8,-0.36,50.18,0.61), (4.93,0.21,6.35,1.68), (45.54,0.61,50.18,0.73), (49.15,0.73,50.17,0.74), (3.93,1.68,6.35,2.68), (45.72,2.05,51.19,2.68)])
A(pfd, via, 10.845, -9.585, 0.15, 0.15, 3, 4, 0.32, 0.32)
A(pfd, via, 23.805, -8.455, 0.15, 0.15, 3, 3, 0.32, 0.32)
A(pfd, via, 40.305, -7.945, 0.15, 0.15, 3, 3, 0.32, 0.32)
A(pfd, via, 51.765, -7.945, 0.15, 0.15, 3, 3, 0.32, 0.32)
A(pfd, via, 2.455, -7.935, 0.15, 0.15, 3, 3, 0.32, 0.32)
A(pfd, via, 7.665, -7.935, 0.15, 0.15, 3, 3, 0.32, 0.32)
A(pfd, via, 48.75, -3.73, 0.15, 0.15, 3, 3, 0.32, 0.32)
A(pfd, via, 10.845, -2.575, 0.15, 0.15, 3, 4, 0.32, 0.32)
A(pfd, via, 23.805, -1.445, 0.15, 0.15, 3, 3, 0.32, 0.32)
A(pfd, via, 40.305, -0.935, 0.15, 0.15, 3, 3, 0.32, 0.32)
A(pfd, via, 51.765, -0.935, 0.15, 0.15, 3, 3, 0.32, 0.32)
A(pfd, via, 2.455, -0.925, 0.15, 0.15, 3, 3, 0.32, 0.32)
A(pfd, via, 7.665, -0.925, 0.15, 0.15, 3, 3, 0.32, 0.32)
R(pfd, met2, [(10.68,-9.68,11.8,-1.37), (23.7,-9.67,30.25,-9), (23.7,-9,24.7,-7.54), (28.43,-9,30.25,-3.96), (40.2,-8.05,52.66,-7.05), (2.35,-8.04,8.56,-7.04), (23.7,-3.96,49.65,-2.71), (23.7,-2.71,24.7,-0.53), (39.81,-1.04,52.66,-0.04), (2.35,-1.03,8.56,-0.03)])
pfd.add(gdstk.Reference(nor2_1, (51.26,0.84), rotation=3*pi/2))
pfd.add(gdstk.Reference(register_sr, (3.87,6.37)))
pfd.add(gdstk.Reference(register_sr, (3.87,-0.64)))
pfd.add(gdstk.Label('VSS', (5.93,-9.18), layer=68, texttype=5))
pfd.add(gdstk.Label('IN_2', (2.85,-7.54), layer=68, texttype=5))
pfd.add(gdstk.Label('OUT2', (52.16,-7.55), layer=68, texttype=5))
pfd.add(gdstk.Label('IN_1', (2.85,-0.53), layer=68, texttype=5))
pfd.add(gdstk.Label('OUT1', (52.16,-0.54), layer=68, texttype=5))
pfd.add(gdstk.Label('VDD', (4.43,2.18), layer=68, texttype=5))

lib.write_gds('PFD.gds')
